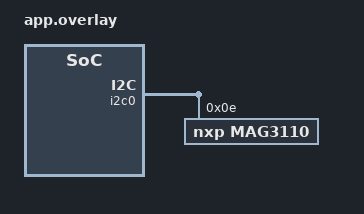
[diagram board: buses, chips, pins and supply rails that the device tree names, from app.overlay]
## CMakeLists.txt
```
cmake_minimum_required(VERSION 3.20.0)
find_package(Zephyr REQUIRED HINTS $ENV{ZEPHYR_BASE})
project(microbit_v1_bthome LANGUAGES C CXX)
target_sources(app PRIVATE ../firmware/src/main.cpp src/mag3110.cpp)
target_include_directories(app PRIVATE ../components/bthome ../firmware/src)
```

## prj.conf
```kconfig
CONFIG_CPP=y
CONFIG_STD_CPP17=y
CONFIG_NEWLIB_LIBC=y
CONFIG_GLIBCXX_LIBCPP=y
CONFIG_BT=y
CONFIG_BT_BROADCASTER=y
CONFIG_BT_DEVICE_NAME="Microbit V1 BTHome"
CONFIG_BT_PRIVACY=n
CONFIG_BT_CTLR_TX_PWR_0=y
CONFIG_GPIO=y
CONFIG_I2C=y
CONFIG_SENSOR=y
CONFIG_TEMP_NRF5=y
CONFIG_FXOS8700=y
CONFIG_FXOS8700_MODE_ACCEL=y
CONFIG_FXOS8700_TRIGGER_NONE=y
CONFIG_DISPLAY=n
CONFIG_LOG=y
CONFIG_REBOOT=y
CONFIG_SERIAL=y
CONFIG_CONSOLE=y
CONFIG_UART_CONSOLE=y
CONFIG_MAIN_STACK_SIZE=1536
CONFIG_SYSTEM_WORKQUEUE_STACK_SIZE=768
CONFIG_ISR_STACK_SIZE=1024
CONFIG_BT_RX_STACK_SIZE=1024
CONFIG_BT_BUF_EVT_RX_COUNT=4
CONFIG_TICKLESS_KERNEL=y
```

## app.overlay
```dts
/ {
    aliases {
        magn0 = &mag3110;
    };
};

&led_matrix {
    status = "disabled";
};

&i2c0 {
    mag3110: magnetometer@e {
        compatible = "nxp,mag3110";
        reg = <0x0e>;
        status = "okay";
    };
};
```

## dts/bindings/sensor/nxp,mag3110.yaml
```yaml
description: NXP MAG3110 three-axis magnetometer
compatible: "nxp,mag3110"
include: [sensor-device.yaml, i2c-device.yaml]
```

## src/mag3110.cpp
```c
#include <zephyr/device.h>
#include <zephyr/drivers/i2c.h>
#include <zephyr/drivers/sensor.h>
#include <zephyr/sys/byteorder.h>

#include <cerrno>
#include <cstdint>

namespace {

struct Mag3110Config {
  i2c_dt_spec bus;
};

struct Mag3110Data {
  sensor_value axes[3];
};

int mag3110_init(const device *sensor) {
  const auto *config = static_cast<const Mag3110Config *>(sensor->config);
  if (!i2c_is_ready_dt(&config->bus))
    return -ENODEV;
  uint8_t identity = 0;
  int error = i2c_reg_read_byte_dt(&config->bus, 0x07, &identity);
  if (error != 0)
    return error;
  if (identity != 0xC4)
    return -ENODEV;
  error = i2c_reg_write_byte_dt(&config->bus, 0x10, 0x00);
  if (error != 0)
    return error;
  error = i2c_reg_write_byte_dt(&config->bus, 0x11, 0x80);
  if (error != 0)
    return error;
  return i2c_reg_write_byte_dt(&config->bus, 0x10, 0xC1);
}

int mag3110_fetch(const device *sensor, sensor_channel channel) {
  if (channel != SENSOR_CHAN_ALL && channel != SENSOR_CHAN_MAGN_XYZ)
    return -ENOTSUP;
  const auto *config = static_cast<const Mag3110Config *>(sensor->config);
  auto *data = static_cast<Mag3110Data *>(sensor->data);
  uint8_t status = 0;
  int error = i2c_reg_read_byte_dt(&config->bus, 0x00, &status);
  if (error != 0)
    return error;
  if ((status & 0x08) == 0)
    return -EAGAIN;
  uint8_t raw[6];
  error = i2c_burst_read_dt(&config->bus, 0x01, raw, sizeof(raw));
  if (error != 0)
    return error;
  for (size_t axis = 0; axis < 3; ++axis) {
    const uint16_t encoded = sys_get_be16(raw + axis * 2);
    const int32_t value = encoded >= 0x8000 ? static_cast<int32_t>(encoded) - 0x10000 : encoded;
    data->axes[axis].val1 = value / 1000;
    data->axes[axis].val2 = (value % 1000) * 1000;
  }
  return 0;
}

int mag3110_get(const device *sensor, sensor_channel channel, sensor_value *values) {
  if (channel != SENSOR_CHAN_MAGN_XYZ)
    return -ENOTSUP;
  const auto *data = static_cast<const Mag3110Data *>(sensor->data);
  for (size_t axis = 0; axis < 3; ++axis)
    values[axis] = data->axes[axis];
  return 0;
}

static DEVICE_API(sensor, mag3110_api) = {
    .sample_fetch = mag3110_fetch,
    .channel_get = mag3110_get,
};

static const Mag3110Config mag3110_config = {
    I2C_DT_SPEC_GET(DT_NODELABEL(mag3110)),
};
static Mag3110Data mag3110_data{};

}

DEVICE_DT_DEFINE(DT_NODELABEL(mag3110), mag3110_init, nullptr, &mag3110_data,
                 &mag3110_config, POST_KERNEL, CONFIG_SENSOR_INIT_PRIORITY, &mag3110_api);
```
